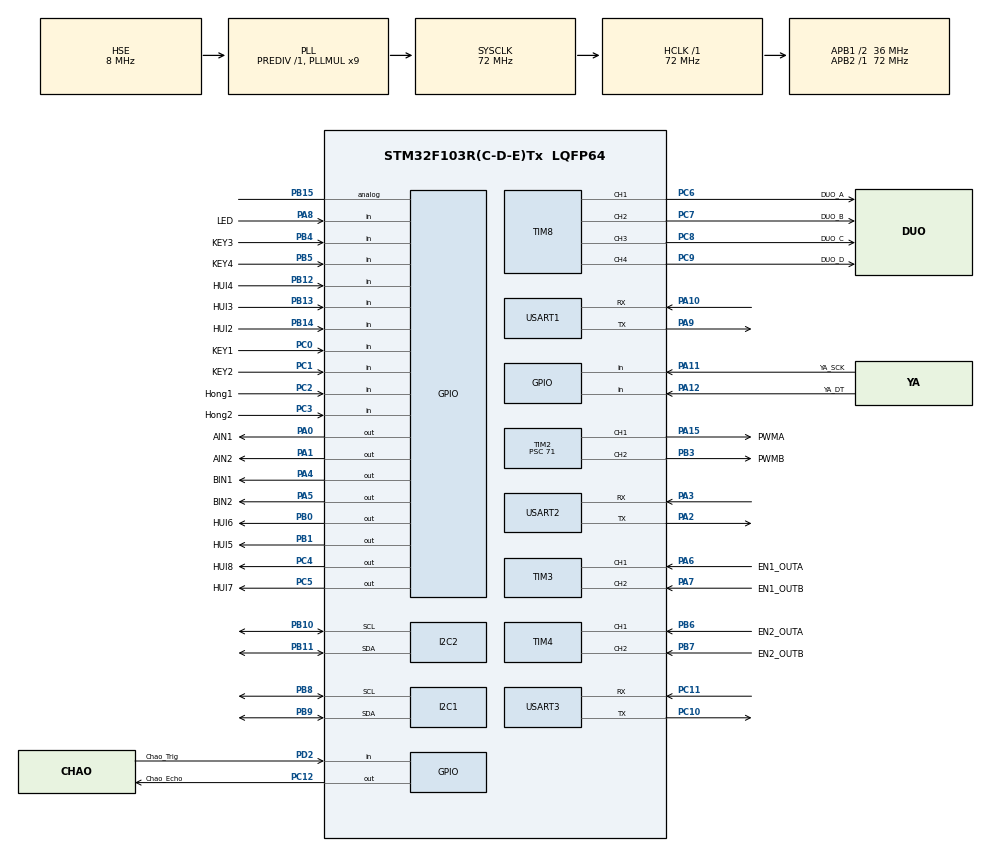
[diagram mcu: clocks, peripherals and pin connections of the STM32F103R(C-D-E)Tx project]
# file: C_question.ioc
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Mcu.Family=STM32F1
Mcu.Name=STM32F103R(C-D-E)Tx
Mcu.Package=LQFP64
NVIC.PriorityGroup=NVIC_PRIORITYGROUP_4
NVIC.TIM2_IRQn=true\:0\:0\:false\:false\:true\:true\:true\:true
NVIC.USART1_IRQn=true\:0\:0\:false\:false\:true\:true\:true\:true
PA0-WKUP.GPIO_Label=AIN1
PA0-WKUP.Signal=GPIO_Output
PA1.GPIO_Label=AIN2
PA1.Signal=GPIO_Output
PA10.Mode=Asynchronous
PA10.Signal=USART1_RX
PA11.GPIO_Label=YA_SCK
PA11.Signal=GPIO_Input
PA12.GPIO_Label=YA_DT
PA12.Signal=GPIO_Input
PA13.Mode=Serial_Wire
PA13.Signal=SYS_JTMS-SWDIO
PA14.Mode=Serial_Wire
PA14.Signal=SYS_JTCK-SWCLK
PA15.GPIO_Label=PWMA
PA15.Signal=S_TIM2_CH1_ETR
PA2.Mode=Asynchronous
PA2.Signal=USART2_TX
PA3.Mode=Asynchronous
PA3.Signal=USART2_RX
PA4.GPIO_Label=BIN1
PA4.Signal=GPIO_Output
PA5.GPIO_Label=BIN2
PA5.Signal=GPIO_Output
PA6.GPIO_Label=EN1_OUTA
PA6.Signal=S_TIM3_CH1
PA7.GPIO_Label=EN1_OUTB
PA7.Signal=S_TIM3_CH2
PA8.GPIO_Label=LED
PA8.Signal=GPIO_Input
PA9.Mode=Asynchronous
PA9.Signal=USART1_TX
PB0.GPIO_Label=HUI6
PB0.Signal=GPIO_Output
PB1.GPIO_Label=HUI5
PB1.Signal=GPIO_Output
PB10.Mode=I2C
PB10.Signal=I2C2_SCL
PB11.Mode=I2C
PB11.Signal=I2C2_SDA
PB12.GPIO_Label=HUI4
PB12.Signal=GPIO_Input
PB13.GPIO_Label=HUI3
PB13.Signal=GPIO_Input
PB14.GPIO_Label=HUI2
PB14.Signal=GPIO_Input
PB15.Signal=GPIO_Analog
PB3.GPIO_Label=PWMB
PB3.Signal=S_TIM2_CH2
PB4.GPIO_Label=KEY3
PB4.Signal=GPIO_Input
PB5.GPIO_Label=KEY4
PB5.Signal=GPIO_Input
PB6.GPIO_Label=EN2_OUTA
PB6.Signal=S_TIM4_CH1
PB7.GPIO_Label=EN2_OUTB
PB7.Signal=S_TIM4_CH2
PB8.Mode=I2C
PB8.Signal=I2C1_SCL
PB9.Mode=I2C
PB9.Signal=I2C1_SDA
PC0.GPIO_Label=KEY1
PC0.Signal=GPIO_Input
PC1.GPIO_Label=KEY2
PC1.Signal=GPIO_Input
PC10.Mode=Asynchronous
PC10.Signal=USART3_TX
PC11.Mode=Asynchronous
PC11.Signal=USART3_RX
PC12.GPIO_Label=Chao_Echo
PC12.Signal=GPIO_Output
PC2.GPIO_Label=Hong1
PC2.Signal=GPIO_Input
PC3.GPIO_Label=Hong2
PC3.Signal=GPIO_Input
PC4.GPIO_Label=HUI8
PC4.Signal=GPIO_Output
PC5.GPIO_Label=HUI7
PC5.Signal=GPIO_Output
PC6.GPIO_Label=DUO_A
PC6.Signal=S_TIM8_CH1
PC7.GPIO_Label=DUO_B
PC7.Signal=S_TIM8_CH2
PC8.GPIO_Label=DUO_C
PC8.Signal=S_TIM8_CH3
PC9.GPIO_Label=DUO_D
PC9.Signal=S_TIM8_CH4
PD0-OSC_IN.Mode=HSE-External-Oscillator
PD0-OSC_IN.Signal=RCC_OSC_IN
PD1-OSC_OUT.Mode=HSE-External-Oscillator
PD1-OSC_OUT.Signal=RCC_OSC_OUT
PD2.GPIO_Label=Chao_Trig
PD2.Signal=GPIO_Input
ProjectManager.HeapSize=0x200
ProjectManager.StackSize=0x400
ProjectManager.TargetToolchain=Makefile
RCC.AHBFreq_Value=72000000
RCC.APB1CLKDivider=RCC_HCLK_DIV2
RCC.APB1Freq_Value=36000000
RCC.APB1TimFreq_Value=72000000
RCC.APB2Freq_Value=72000000
RCC.APB2TimFreq_Value=72000000
RCC.HCLKFreq_Value=72000000
RCC.PLLMUL=RCC_PLL_MUL9
RCC.PLLSourceVirtual=RCC_PLLSOURCE_HSE
RCC.SYSCLKFreq_VALUE=72000000
RCC.SYSCLKSource=RCC_SYSCLKSOURCE_PLLCLK
RCC.USBFreq_Value=72000000
SH.S_TIM2_CH1_ETR.0=TIM2_CH1,PWM Generation1 CH1
SH.S_TIM2_CH2.0=TIM2_CH2,PWM Generation2 CH2
SH.S_TIM3_CH1.0=TIM3_CH1,Encoder_Interface
SH.S_TIM3_CH2.0=TIM3_CH2,Encoder_Interface
SH.S_TIM4_CH1.0=TIM4_CH1,Encoder_Interface
SH.S_TIM4_CH2.0=TIM4_CH2,Encoder_Interface
SH.S_TIM8_CH1.0=TIM8_CH1,PWM Generation1 CH1
SH.S_TIM8_CH2.0=TIM8_CH2,PWM Generation2 CH2
SH.S_TIM8_CH3.0=TIM8_CH3,PWM Generation3 CH3
SH.S_TIM8_CH4.0=TIM8_CH4,PWM Generation4 CH4
TIM2.Channel-PWM\ Generation1\ CH1=TIM_CHANNEL_1
TIM2.Channel-PWM\ Generation2\ CH2=TIM_CHANNEL_2
TIM2.Period=999
TIM2.Prescaler=71
TIM8.Channel-PWM\ Generation1\ CH1=TIM_CHANNEL_1
TIM8.Channel-PWM\ Generation2\ CH2=TIM_CHANNEL_2
TIM8.Channel-PWM\ Generation3\ CH3=TIM_CHANNEL_3
TIM8.Channel-PWM\ Generation4\ CH4=TIM_CHANNEL_4
USART1.VirtualMode=VM_ASYNC
USART2.VirtualMode=VM_ASYNC
USART3.VirtualMode=VM_ASYNC
VP_TIM1_VS_ClockSourceINT.Mode=Internal
VP_TIM2_VS_ClockSourceINT.Mode=Internal
VP_TIM8_VS_ClockSourceINT.Mode=Internal
board=custom

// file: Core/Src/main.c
/* USER CODE BEGIN Header */
/**
  ******************************************************************************
  * @file           : main.c
  * @brief          : Main program body
  ******************************************************************************
  * @attention
  *
  * Copyright (c) 2026 STMicroelectronics.
  * All rights reserved.
  *
  * This software is licensed under terms that can be found in the LICENSE file
  * in the root directory of this software component.
  * If no LICENSE file comes with this software, it is provided AS-IS.
  *
  ******************************************************************************
  */
/* USER CODE END Header */
#include "main.h"
#include "i2c.h"
#include "tim.h"
#include "usart.h"
#include "gpio.h"

/* USER CODE BEGIN Includes */
#include "oled.h"
#include "motor.h"
#include "track.h"
#include "encoder.h"
#include "arm.h"
#include "button.h"
#include "uart.h"
#include <stdio.h>
#include <stdlib.h>
#include <string.h>
#include <math.h>
/* USER CODE END Includes */

/* USER CODE BEGIN PD */
// 编码器目标位置宏定义（单位：mm），请根据实际场地调整
#define ENC_POS_WAREHOUSE   1200    // HOME -> 仓库区
#define ENC_POS_A           2500    // HOME -> A区（累计）
#define ENC_POS_B           3800    // HOME -> B区
#define ENC_POS_C           5100    // HOME -> C区

#define PWM_BASE     400
#define PWM_BACK     350
#define TRACK_KP     1.2
#define TRACK_KI     0.01
#define TRACK_KD     0.3
/* USER CODE END PD */

/* USER CODE BEGIN PV */
// ==================== 状态机 ====================
typedef enum {
    STATE_IDLE,
    STATE_ORDER_SETTING,
    STATE_READY,
    STATE_GO_WAREHOUSE,
    STATE_ALIGN_WAREHOUSE,
    STATE_PICK_GOODS,
    STATE_GO_UNLOAD,
    STATE_ALIGN_UNLOAD,
    STATE_DROP_GOODS,
    STATE_RETURN_HOME,
    STATE_FINISH
} SystemState;

//小车相关
SystemState g_state = STATE_IDLE;   // 初始小车状态变量
uint8_t g_car_dir = 0;              // 小车行进状态：0:前进，1:后退
int32_t g_target_enc = 0;           // 当前目标编码器距离

//机械臂相关
uint8_t g_arm_done_event = 0;       // 机械臂动作完成事件
uint8_t g_vision_done_event = 0;    // 视觉对准完成事件

//物块相关
char g_unload_order[4] = "ABC";     // 默认顺序
uint8_t g_pick_index = 0;           // 抓取索引 0:A,1:B,2:C
uint8_t g_order_index = 0;          // 当前卸货索引序号
uint8_t g_unload_count = 0;         // 已卸货物计数

/* USER CODE END PV */

void SystemClock_Config(void);
/* USER CODE BEGIN PFP */
void State_Machine(void);
void Start_Order_Setting(void);
void Execute_LineTracking(int32_t target_enc, uint8_t direction);
uint8_t Wait_AlignComplete(uint32_t timeout_ms);
void Beep(uint16_t ms);
void LED_Blink(uint8_t times);
/* USER CODE END PFP */

/* USER CODE BEGIN 0 */
void Arm_Done_Callback(void)
{
    g_arm_done_event = 1;
}
/* USER CODE END 0 */

int main(void)
{

  /* MCU Configuration--------------------------------------------------------*/
  HAL_Init();
  SystemClock_Config();

  MX_GPIO_Init();
  MX_I2C1_Init();
  MX_I2C2_Init();
  MX_TIM1_Init();
  MX_TIM2_Init();
  MX_TIM3_Init();
  MX_TIM4_Init();
  MX_TIM8_Init();
  MX_USART1_UART_Init();
  MX_USART2_UART_Init();
  MX_USART3_UART_Init();

  /* USER CODE BEGIN 2 */
  HAL_TIM_PWM_Start(&htim8, TIM_CHANNEL_1);
  HAL_TIM_PWM_Start(&htim8, TIM_CHANNEL_2);
  Encoder_Init();
  OLED_Init();
  OLED_Clear();
  Arm_Init();
  Arm_SetDoneCallback(Arm_Done_Callback);
  UART_Init();            // 开启串口接收中断

  OLED_ShowString(0, 0, "System Ready!");
  /* USER CODE END 2 */

  /* Infinite loop */
  /* USER CODE BEGIN WHILE */
  while (1)
  {
    State_Machine();       // 依然由状态机控制
    HAL_Delay(10);
    /* USER CODE END WHILE */

  }
}

void SystemClock_Config(void)
{
  RCC_OscInitTypeDef RCC_OscInitStruct = {0};
  RCC_ClkInitTypeDef RCC_ClkInitStruct = {0};

  RCC_OscInitStruct.OscillatorType = RCC_OSCILLATORTYPE_HSE;
  RCC_OscInitStruct.HSEState = RCC_HSE_ON;
  RCC_OscInitStruct.HSEPredivValue = RCC_HSE_PREDIV_DIV1;
  RCC_OscInitStruct.HSIState = RCC_HSI_ON;
  RCC_OscInitStruct.PLL.PLLState = RCC_PLL_ON;
  RCC_OscInitStruct.PLL.PLLSource = RCC_PLLSOURCE_HSE;
  RCC_OscInitStruct.PLL.PLLMUL = RCC_PLL_MUL9;
  if (HAL_RCC_OscConfig(&RCC_OscInitStruct) != HAL_OK)
  {
    Error_Handler();
  }

  RCC_ClkInitStruct.ClockType = RCC_CLOCKTYPE_HCLK|RCC_CLOCKTYPE_SYSCLK
                              |RCC_CLOCKTYPE_PCLK1|RCC_CLOCKTYPE_PCLK2;
  RCC_ClkInitStruct.SYSCLKSource = RCC_SYSCLKSOURCE_PLLCLK;
  RCC_ClkInitStruct.AHBCLKDivider = RCC_SYSCLK_DIV1;
  RCC_ClkInitStruct.APB1CLKDivider = RCC_HCLK_DIV2;
  RCC_ClkInitStruct.APB2CLKDivider = RCC_HCLK_DIV1;

  if (HAL_RCC_ClockConfig(&RCC_ClkInitStruct, FLASH_LATENCY_2) != HAL_OK)
  {
    Error_Handler();
  }
}

/* USER CODE BEGIN 4 */

// ====================== 状态机实现 ======================
void State_Machine(void)
{
    uint8_t key;
    int32_t cur_dist;

    switch(g_state)
    {
        case STATE_IDLE:
            OLED_Show_State("Press KEY1 start");
            key = Key_Scan();
            if(key == 1)
            {
                Start_Order_Setting();
            }
            break;

        case STATE_ORDER_SETTING:
            // 此状态在Start_Order_Setting中处理，处理完直接自动跳转
            break;

        case STATE_READY:
            OLED_Show_State("Ready! Press KEY1");
            key = Key_Scan();
            if(key == 1)
            {
                g_pick_index = 0;
                g_unload_count = 0;
                g_order_index = 0;
                Encoder_ResetDistance();
                g_target_enc = ENC_POS_WAREHOUSE;
                g_state = STATE_GO_WAREHOUSE;
                OLED_Clear();
            }
            break;

        case STATE_GO_WAREHOUSE:
            Execute_LineTracking(g_target_enc, 0);  // 前进
            if(Encoder_GetDistance() >= g_target_enc)
            {
                Motor_Stop();
                g_state = STATE_ALIGN_WAREHOUSE;
                OLED_Clear();
            }
            break;

        case STATE_ALIGN_WAREHOUSE:
            OLED_Show_State("Aligning...");
            OpenMV_SetMode(3);
            Arm_MoveToPoint(ARM_POINT_ALIGN);
            if(Wait_AlignComplete(5000))
            {
                OLED_Show_AlignResult(1);
                Arm_MoveToPoint(ARM_POINT_RESET);
                g_state = STATE_PICK_GOODS;
                g_arm_done_event = 0;
                Arm_ClearDoneFlag();
            }
            else
            {
                OLED_Show_AlignResult(0);
                // 超时也继续，可加声光报警
                g_state = STATE_PICK_GOODS;
            }
            break;

        case STATE_PICK_GOODS:
            if(g_pick_index < 3)
            {
                char buf[16];
                sprintf(buf, "Pick %c", 'A' + g_pick_index);
                OLED_Show_State(buf);
                if(!Arm_IsDone())
                {
                    Arm_PickSequence(g_pick_index);
                }
                if(g_arm_done_event)
                {
                    g_arm_done_event = 0;
                    Arm_ClearDoneFlag();
                    g_pick_index++;
                    Beep(100);
                    LED_Blink(1);
                }
            }
            else
            {
                // 抓取完毕，准备前往第一个卸货区
                g_unload_count = 0;
                g_order_index = 0;
                char target_char = g_unload_order[g_order_index];
                if(target_char == 'A')      g_target_enc = ENC_POS_A;
                else if(target_char == 'B') g_target_enc = ENC_POS_B;
                else                        g_target_enc = ENC_POS_C;
                g_state = STATE_GO_UNLOAD;
                OLED_Clear();
            }
            break;

        case STATE_GO_UNLOAD:
            cur_dist = Encoder_GetDistance();
            uint8_t dir = (g_target_enc > cur_dist) ? 0 : 1;
            Execute_LineTracking(g_target_enc, dir);
            if((dir == 0 && cur_dist >= g_target_enc) || (dir == 1 && cur_dist <= g_target_enc))
            {
                Motor_Stop();
                g_state = STATE_ALIGN_UNLOAD;
                OLED_Clear();
            }
            break;

        case STATE_ALIGN_UNLOAD:
            OLED_Show_State("Align Unload");
            OpenMV_SetMode(3);
            Arm_MoveToPoint(ARM_POINT_ALIGN);
            if(Wait_AlignComplete(5000))
            {
                OLED_Show_AlignResult(1);
                Arm_MoveToPoint(ARM_POINT_RESET);
                g_state = STATE_DROP_GOODS;
                g_arm_done_event = 0;
                Arm_ClearDoneFlag();
            }
            else
            {
                g_state = STATE_DROP_GOODS;
            }
            break;

        case STATE_DROP_GOODS:
            {
                char buf[16];
                sprintf(buf, "Drop %c", g_unload_order[g_order_index]);
                OLED_Show_State(buf);
                if(!Arm_IsDone())
                {
                    Arm_DropSequence();
                }
                if(g_arm_done_event)
                {
                    g_arm_done_event = 0;
                    Arm_ClearDoneFlag();
                    Beep(200);
                    LED_Blink(2);
                    g_order_index++;
                    g_unload_count++;
                    if(g_unload_count < 3)
                    {
                        char next = g_unload_order[g_order_index];
                        if(next == 'A')      g_target_enc = ENC_POS_A;
                        else if(next == 'B') g_target_enc = ENC_POS_B;
                        else                 g_target_enc = ENC_POS_C;
                        g_state = STATE_GO_UNLOAD;
                    }
                    else
                    {
                        g_target_enc = 0;   // 返回HOME
                        g_state = STATE_RETURN_HOME;
                    }
                    OLED_Clear();
                }
            }
            break;

        case STATE_RETURN_HOME:
            cur_dist = Encoder_GetDistance();
            dir = (0 > cur_dist) ? 0 : 1;
            Execute_LineTracking(0, dir);
            if((dir == 0 && cur_dist >= 0) || (dir == 1 && cur_dist <= 0))
            {
                Motor_Stop();
                g_state = STATE_FINISH;
            }
            break;

        case STATE_FINISH:
            OLED_Show_State("Task Finish!");
            Beep(500);
            HAL_Delay(2000);
            g_state = STATE_IDLE;
            OLED_Clear();
            break;
    }
}

/* 顺序设置函数（阻塞式，但仅在设置时运行，因此不影响任务执行） */
void Start_Order_Setting(void)
{
    char order[4] = "   ";
    uint8_t idx = 0;
    uint8_t key;
    OLED_Clear();
    OLED_Show_Order_Setting(order, idx);
    while(idx < 3)
    {
        key = Key_Scan();
        if(key)
        {
            order[idx] = (key == 1) ? 'A' : (key == 2) ? 'B' : 'C';
            OLED_Show_Order_Setting(order, idx);
            idx++;
            HAL_Delay(300);
        }
        HAL_Delay(10);
    }
    order[3] = '\0';
    strcpy(g_unload_order, order);
    OLED_Clear();
    OLED_ShowString(0, 0, "Order Saved:");
    OLED_ShowString(0, 1, order);
    HAL_Delay(1500);
    g_state = STATE_READY;
}

/* 巡线执行函数（非阻塞，每次调用只执行一次PID计算与电机输出） */
void Execute_LineTracking(int32_t target_enc, uint8_t direction)
{
    Track_Sensor_Read();
    Track_PID_Calc(TRACK_KP, TRACK_KI, TRACK_KD);
    Encoder_Update();
    float pid_out = Get_Track_PID_Out();
    uint16_t base_pwm = (direction == 0) ? PWM_BASE : PWM_BACK;
    int16_t l = base_pwm - pid_out;
    int16_t r = base_pwm + pid_out;
    if(l < 0) l = 0;
    if(l > 999) l = 999;   //加个限幅
    if(r < 0) r = 0;
    if(r > 999) r = 999;

    if(direction == 0)
        Motor_Forward(l, r);
    else
        Motor_Backward(l, r);
    g_car_dir = direction;
}

/* 等待视觉对准完成（带超时，内部使用HAL_Delay，不中断其他中断） */
uint8_t Wait_AlignComplete(uint32_t timeout_ms)
{
    uint32_t tick = 0;
    uint8_t flag;
    while(tick < timeout_ms)
    {
        flag = Vision_GetAlignFlag();
        if(flag == 1)   // 收到偏移数据
        {
            Vision_ClearAlignFlag();
            float offset = Vision_GetOffset();
            if(fabsf(offset) < 0.5f)
                return 1;
            // 这里可加入微调代码，省略
        }
        else if(flag == 2)  // 收到OK信号
        {
            Vision_ClearAlignFlag();
            return 1;
        }
        HAL_Delay(10);
        tick += 10;
    }
    return 0;
}

void Beep(uint16_t ms)
{
    // 实际蜂鸣器代码，按需实现
    // HAL_GPIO_WritePin(BUZZER_GPIO_Port, BUZZER_Pin, GPIO_PIN_SET);
    // HAL_Delay(ms);
    // HAL_GPIO_WritePin(BUZZER_GPIO_Port, BUZZER_Pin, GPIO_PIN_RESET);
}

void LED_Blink(uint8_t times)
{
    for(uint8_t i=0; i<times; i++)
    {
        // LED_ON(); HAL_Delay(100); LED_OFF(); HAL_Delay(100);
    }
}
/* USER CODE END 4 */

void Error_Handler(void)
{
  __disable_irq();
  while (1)
  {
  }
}
